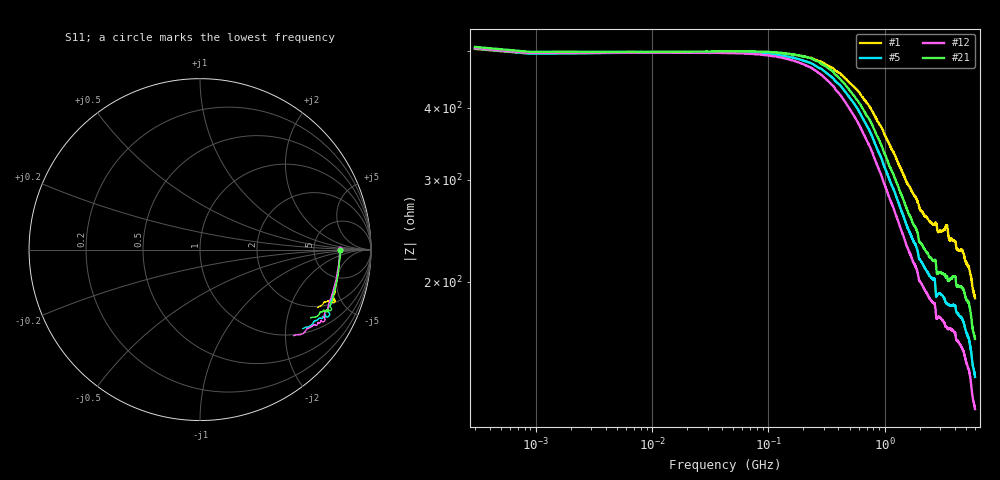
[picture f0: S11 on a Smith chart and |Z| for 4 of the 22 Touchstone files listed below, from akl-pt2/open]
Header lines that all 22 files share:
! Ref Plane: 23.990 mm
# MHZ S MA R  50
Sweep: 300 kHz to 6 GHz
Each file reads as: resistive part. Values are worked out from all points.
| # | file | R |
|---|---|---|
| 1 | a68-001.s1p | 499 ohm |
| 2 | a68-002.s1p | 499 ohm |
| 3 | a68-003.s1p | 499 ohm |
| 4 | a68-004.s1p | 499 ohm |
| 5 | a69-001.s1p | 498 ohm |
| 6 | a69-002.s1p | 498 ohm |
| 7 | a69-003.s1p | 499 ohm |
| 8 | a69-004.s1p | 499 ohm |
| 9 | a69-005.s1p | 498 ohm |
| 10 | a69-006.s1p | 499 ohm |
| 11 | a69-007.s1p | 499 ohm |
| 12 | a69-008.s1p | 497 ohm |
| 13 | a69-009.s1p | 498 ohm |
| 14 | a69-010.s1p | 498 ohm |
| 15 | a69-011.s1p | 499 ohm |
| 16 | a69-012.s1p | 498 ohm |
| 17 | a69-013.s1p | 497 ohm |
| 18 | a69-014.s1p | 499 ohm |
| 19 | a69-015.s1p | 498 ohm |
| 20 | a69-016.s1p | 499 ohm |
| 21 | a69-017.s1p | 500 ohm |
| 22 | a69-018.s1p | 498 ohm |
